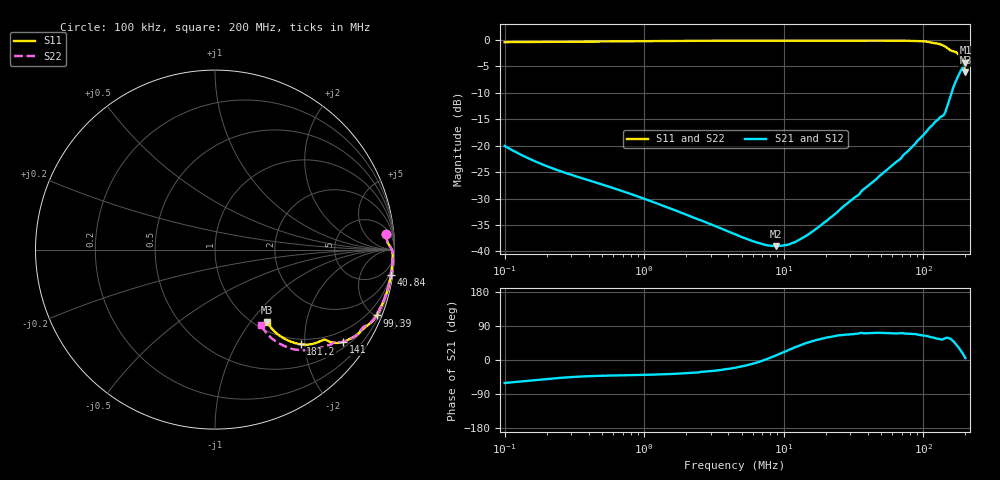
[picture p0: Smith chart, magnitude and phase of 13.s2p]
#  HZ  S  RI  R  50.00
! Rohde & Schwarz Vector Network Analyzer
! Rohde-Schwarz,ZNLE6-2Port,1323001256200024,1.71.1.10-23.02.1.238
! Created: UTC 4/7/2025, 8:28:55 AM
! freq[Hz]  re:S11  im:S11  re:S21  im:S21  re:S12  im:S12  re:S22  im:S22
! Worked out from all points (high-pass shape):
!   1001 points, 100 kHz to 200 MHz, reference 50 ohm
!   highest |S21| = -4.30 dB at 200 MHz (marker M1); lowest = -39.0 dB at 8.796 MHz (marker M2)
!   |S21| within 3 dB of the highest: 174.2 MHz to end of sweep
!   lowest |S11| = -6.1 dB at 200 MHz (marker M3), VSWR 2.97, Z = 56.5 - j60.5 ohm
!   |S11| at or under -10 dB: nowhere
!   |S22| runs from -6.1 to -0.1 dB; largest |S21 - S12| = 0.015
!   S11 on the Smith chart (normalised r, x): 100 kHz: 9, +18; 40.84 MHz: 1, -14; 99.39 MHz: 0.36, -5.08; 141 MHz: 0.65, -2.97; 181.2 MHz: 0.90, -1.91; 200 MHz: 1.13, -1.21
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100000  0.9517 0.086  0.0488 -0.0867  0.049 -0.0869  0.9515 0.0861
182297.8  0.9584 0.052  0.0419 -0.0527  0.0421 -0.0528  0.9584 0.0521
355854.1  0.9644 0.0331  0.0358 -0.0341  0.0359 -0.0342  0.9645 0.0331
1266322  0.978 0.0141  0.0221 -0.0174  0.0221 -0.0174  0.9779 0.0139
4472136  0.9863 -0.00617  0.0136 -0.00508  0.0135 -0.00527  0.9872 -0.00551
6844988  0.9881 -0.0161  0.0118 -0.000718  0.0118 -0.000815  0.9884 -0.0165
8796434  0.989 -0.0241  0.011 0.00238  0.0111 0.00204  0.9892 -0.0251
1.17421e7  0.9895 -0.0353  0.0102 0.00644  0.0105 0.00612  0.9896 -0.0366
1.591428e7  0.9892 -0.0508  0.00999 0.0116  0.0101 0.0115  0.9896 -0.0529
2.628179e7  0.9868 -0.0881  0.0107 0.0238  0.0108 0.0237  0.9867 -0.0918
4.084273e7  0.9801 -0.1404  0.014 0.0402  0.0146 0.0396  0.9797 -0.1448
5.663162e7  0.9685 -0.198  0.0199 0.058  0.0216 0.0571  0.9665 -0.2043
7.38916e7  0.9489 -0.2625  0.029 0.0789  0.0319 0.0777  0.9437 -0.2731
9.938829e7  0.9016 -0.367  0.0532 0.1131  0.0569 0.112  0.8889 -0.3834
1.248436e8  0.807 -0.4588  0.0954 0.1445  0.0997 0.1414  0.8038 -0.4591
1.409882e8  0.7146 -0.5138  0.1104 0.1651  0.1107 0.1623  0.7242 -0.5107
1.498273e8  0.6501 -0.5165  0.1285 0.2098  0.1308 0.2063  0.672 -0.5175
1.580149e8  0.6146 -0.5022  0.1791 0.2523  0.1837 0.2453  0.6386 -0.5307
1.692027e8  0.5736 -0.5162  0.2873 0.2723  0.2928 0.2603  0.5649 -0.5527
1.811826e8  0.477 -0.5276  0.4184 0.2415  0.4229 0.2275  0.4492 -0.5574
1.925417e8  0.3603 -0.4801  0.5418 0.1496  0.5449 0.1365  0.3234 -0.5003
2e8  0.2899 -0.4032  0.6073 0.0538  0.6111 0.0405  0.255 -0.4218
